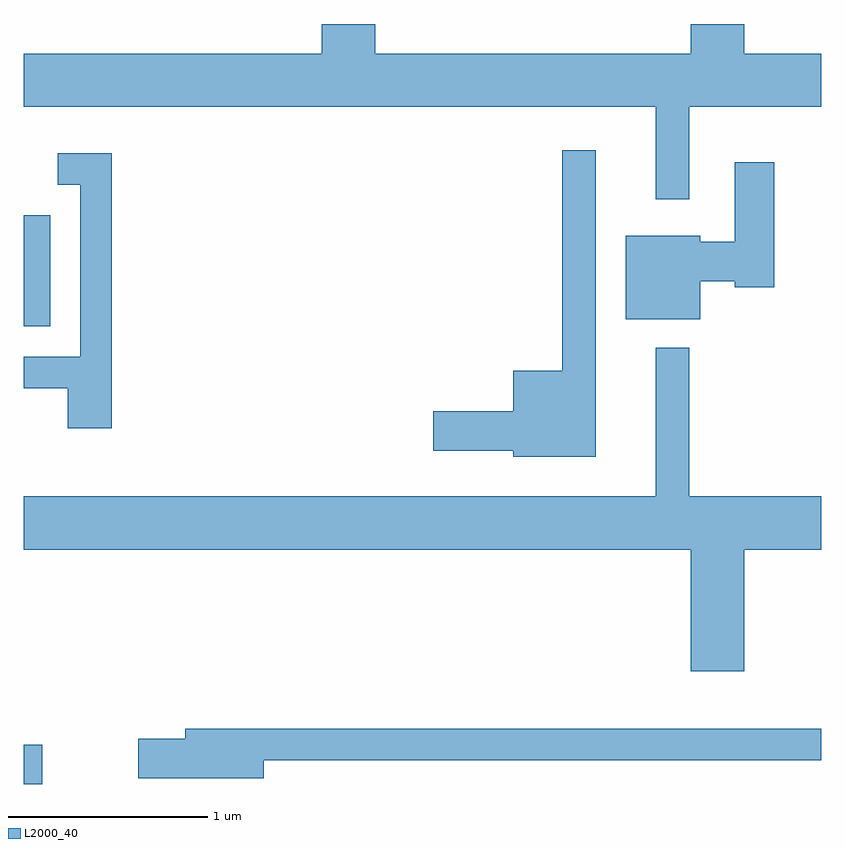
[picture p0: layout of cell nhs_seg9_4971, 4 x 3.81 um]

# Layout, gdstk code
import gdstk
lib = gdstk.Library(unit=1e-6, precision=1e-09)
def R(c, l, rs):  # rectangles x0, y0, x1, y1
    for r in rs: c.add(gdstk.rectangle(r[:2], r[2:], *l))
def P(c, l, *ps):  # polygons
    for p in ps: c.add(gdstk.Polygon(p, *l))
L2000_40 = (2000, 40)

nhs_seg9_4971 = lib.new_cell('nhs_seg9_4971')
R(nhs_seg9_4971, L2000_40, [(331.611,2010.621,331.704,2010.819), (331.611,2012.916,331.744,2013.474)])
P(nhs_seg9_4971, L2000_40, [(334.949,2014.016),(335.611,2014.016),(335.611,2014.284),(335.224,2014.284),(335.224,2014.432),(334.956,2014.432),(334.956,2014.284),(333.374,2014.284),(333.374,2014.432),(333.106,2014.432),(333.106,2014.284),(331.611,2014.284),(331.611,2014.016),(334.781,2014.016),(334.781,2013.553),(334.949,2013.553)],
  [(334.479,2013.798),(334.311,2013.798),(334.311,2012.694),(334.066,2012.694),(334.066,2012.489),(333.666,2012.489),(333.666,2012.291),(334.066,2012.291),(334.066,2012.261),(334.479,2012.261)],
  [(332.054,2013.784),(331.783,2013.784),(331.783,2013.626),(331.896,2013.626),(331.896,2012.764),(331.611,2012.764),(331.611,2012.606),(331.831,2012.606),(331.831,2012.406),(332.054,2012.406)],
  [(335.004,2013.141),(335.176,2013.141),(335.176,2013.111),(335.374,2013.111),(335.374,2013.739),(335.176,2013.739),(335.176,2013.339),(335.004,2013.339),(335.004,2013.369),(334.631,2013.369),(334.631,2012.951),(335.004,2012.951)],
  [(335.224,2011.796),(335.611,2011.796),(335.611,2012.064),(334.949,2012.064),(334.949,2012.808),(334.781,2012.808),(334.781,2012.064),(331.611,2012.064),(331.611,2011.796),(334.956,2011.796),(334.956,2011.186),(335.224,2011.186)],
  [(332.814,2010.741),(335.611,2010.741),(335.611,2010.899),(332.421,2010.899),(332.421,2010.849),(332.186,2010.849),(332.186,2010.651),(332.814,2010.651)])

lib.write_gds('nhs_seg9_4971.gds')
